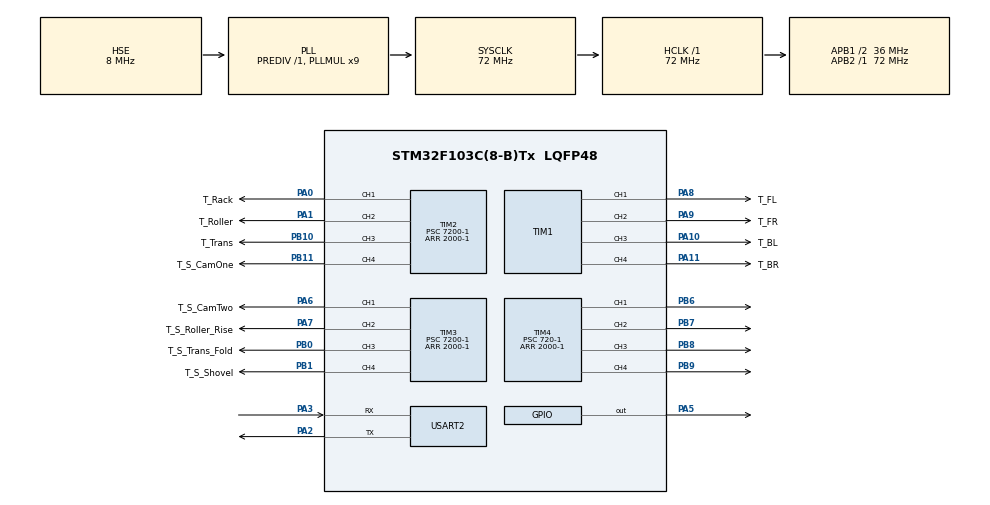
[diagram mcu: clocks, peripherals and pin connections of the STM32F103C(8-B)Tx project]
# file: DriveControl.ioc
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Mcu.Family=STM32F1
Mcu.Name=STM32F103C(8-B)Tx
Mcu.Package=LQFP48
NVIC.PriorityGroup=NVIC_PRIORITYGROUP_2
NVIC.USART2_IRQn=true\:0\:0\:false\:false\:true\:true\:true\:true
PA0-WKUP.GPIO_Label=T_Rack
PA0-WKUP.Signal=S_TIM2_CH1_ETR
PA1.GPIO_Label=T_Roller
PA1.Signal=S_TIM2_CH2
PA10.GPIO_Label=T_BL
PA10.Signal=S_TIM1_CH3
PA11.GPIO_Label=T_BR
PA11.Signal=S_TIM1_CH4
PA2.Mode=Asynchronous
PA2.Signal=USART2_TX
PA3.Mode=Asynchronous
PA3.Signal=USART2_RX
PA5.Signal=GPIO_Output
PA6.GPIO_Label=T_S_CamTwo
PA6.Signal=S_TIM3_CH1
PA7.GPIO_Label=T_S_Roller_Rise
PA7.Signal=S_TIM3_CH2
PA8.GPIO_Label=T_FL
PA8.Signal=S_TIM1_CH1
PA9.GPIO_Label=T_FR
PA9.Signal=S_TIM1_CH2
PB0.GPIO_Label=T_S_Trans_Fold
PB0.Signal=S_TIM3_CH3
PB1.GPIO_Label=T_S_Shovel
PB1.Signal=S_TIM3_CH4
PB10.GPIO_Label=T_Trans
PB10.Signal=S_TIM2_CH3
PB11.GPIO_Label=T_S_CamOne
PB11.Signal=S_TIM2_CH4
PB6.Signal=S_TIM4_CH1
PB7.Signal=S_TIM4_CH2
PB8.Signal=S_TIM4_CH3
PB9.Signal=S_TIM4_CH4
PC14-OSC32_IN.Mode=LSE-External-Oscillator
PC14-OSC32_IN.Signal=RCC_OSC32_IN
PC15-OSC32_OUT.Mode=LSE-External-Oscillator
PC15-OSC32_OUT.Signal=RCC_OSC32_OUT
PD0-OSC_IN.Mode=HSE-External-Oscillator
PD0-OSC_IN.Signal=RCC_OSC_IN
PD1-OSC_OUT.Mode=HSE-External-Oscillator
PD1-OSC_OUT.Signal=RCC_OSC_OUT
ProjectManager.HeapSize=0x200
ProjectManager.StackSize=0x400
ProjectManager.TargetToolchain=STM32CubeIDE
RCC.AHBFreq_Value=72000000
RCC.APB1CLKDivider=RCC_HCLK_DIV2
RCC.APB1Freq_Value=36000000
RCC.APB1TimFreq_Value=72000000
RCC.APB2Freq_Value=72000000
RCC.APB2TimFreq_Value=72000000
RCC.HCLKFreq_Value=72000000
RCC.PLLMUL=RCC_PLL_MUL9
RCC.PLLSourceVirtual=RCC_PLLSOURCE_HSE
RCC.SYSCLKFreq_VALUE=72000000
RCC.SYSCLKSource=RCC_SYSCLKSOURCE_PLLCLK
RCC.USBFreq_Value=72000000
SH.S_TIM1_CH1.0=TIM1_CH1,PWM Generation1 CH1
SH.S_TIM1_CH2.0=TIM1_CH2,PWM Generation2 CH2
SH.S_TIM1_CH3.0=TIM1_CH3,PWM Generation3 CH3
SH.S_TIM1_CH4.0=TIM1_CH4,PWM Generation4 CH4
SH.S_TIM2_CH1_ETR.0=TIM2_CH1,PWM Generation1 CH1
SH.S_TIM2_CH2.0=TIM2_CH2,PWM Generation2 CH2
SH.S_TIM2_CH3.0=TIM2_CH3,PWM Generation3 CH3
SH.S_TIM2_CH4.0=TIM2_CH4,PWM Generation4 CH4
SH.S_TIM3_CH1.0=TIM3_CH1,PWM Generation1 CH1
SH.S_TIM3_CH2.0=TIM3_CH2,PWM Generation2 CH2
SH.S_TIM3_CH3.0=TIM3_CH3,PWM Generation3 CH3
SH.S_TIM3_CH4.0=TIM3_CH4,PWM Generation4 CH4
SH.S_TIM4_CH1.0=TIM4_CH1,PWM Generation1 CH1
SH.S_TIM4_CH2.0=TIM4_CH2,PWM Generation2 CH2
SH.S_TIM4_CH3.0=TIM4_CH3,PWM Generation3 CH3
SH.S_TIM4_CH4.0=TIM4_CH4,PWM Generation4 CH4
TIM1.Channel-PWM\ Generation1\ CH1=TIM_CHANNEL_1
TIM1.Channel-PWM\ Generation2\ CH2=TIM_CHANNEL_2
TIM1.Channel-PWM\ Generation3\ CH3=TIM_CHANNEL_3
TIM1.Channel-PWM\ Generation4\ CH4=TIM_CHANNEL_4
TIM2.Channel-PWM\ Generation1\ CH1=TIM_CHANNEL_1
TIM2.Channel-PWM\ Generation2\ CH2=TIM_CHANNEL_2
TIM2.Channel-PWM\ Generation3\ CH3=TIM_CHANNEL_3
TIM2.Channel-PWM\ Generation4\ CH4=TIM_CHANNEL_4
TIM2.Period=2000-1
TIM2.Prescaler=7200-1
TIM3.Channel-PWM\ Generation1\ CH1=TIM_CHANNEL_1
TIM3.Channel-PWM\ Generation2\ CH2=TIM_CHANNEL_2
TIM3.Channel-PWM\ Generation3\ CH3=TIM_CHANNEL_3
TIM3.Channel-PWM\ Generation4\ CH4=TIM_CHANNEL_4
TIM3.Period=2000-1
TIM3.Prescaler=7200-1
TIM3.Pulse-PWM\ Generation3\ CH3=0
TIM4.Channel-PWM\ Generation1\ CH1=TIM_CHANNEL_1
TIM4.Channel-PWM\ Generation2\ CH2=TIM_CHANNEL_2
TIM4.Channel-PWM\ Generation3\ CH3=TIM_CHANNEL_3
TIM4.Channel-PWM\ Generation4\ CH4=TIM_CHANNEL_4
TIM4.Period=2000-1
TIM4.Prescaler=720-1
USART2.VirtualMode=VM_ASYNC
VP_SYS_VS_ND.Mode=No_Debug
board=custom

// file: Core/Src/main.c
/* USER CODE BEGIN Header */
/**
  ******************************************************************************
  * @file           : main.c
  * @brief          : Main program body
  ******************************************************************************
  * @attention
  *
  * Copyright (c) 2024 STMicroelectronics.
  * All rights reserved.
  *
  * This software is licensed under terms that can be found in the LICENSE file
  * in the root directory of this software component.
  * If no LICENSE file comes with this software, it is provided AS-IS.
  *
  ******************************************************************************
  */
/* USER CODE END Header */
#include "main.h"
#include "tim.h"
#include "usart.h"
#include "gpio.h"

/* USER CODE BEGIN Includes */
#include "motorcontrol.h"
#include "action_usart.h"
#include "stdlib.h"
/* USER CODE END Includes */

/* USER CODE BEGIN PTD */
//UART.c
unsigned char UART2_Rx_Buf[5] = {0}; //USART1存储接收数据
unsigned int UART2_Rx_cnt = 0;                   //USART1接受数据计数
uint8_t UART2_temp[1] = {0};       //USART2接收数据缓存
uint8_t Rx_buf[15] = {0};
uint8_t Detect_Rx_buf[52] = {0};
unsigned char i = 0;
unsigned char Execute_Order = 0;
uint16_t Motor_Side = 0;
uint16_t Motor_Speed = 0;

/* USER CODE END PTD */

/* USER CODE BEGIN PV */
unsigned char USART_State = 1;
unsigned char Rx_cnt = 0;
unsigned char Menu_Sign = 0;
// Fix it to 0
unsigned char Detect_State = 0;
unsigned char Receive_State = 0;
unsigned char Detect_Flag = 0;
unsigned char p = 0;

void HAL_UART_RxCpltCallback(UART_HandleTypeDef *huart) //USART中断函数
{
    if (huart->Instance == USART2)
    {
        if (Detect_State == 0)
        {
            if (USART_State == 2)
            {
                if (Rx_cnt <= 8)
                {
                    Rx_buf[Rx_cnt] = UART2_temp[0];
                    Rx_cnt++;
                    if (Rx_cnt > 8)
                    {
                        USART_State = 1;
                        Rx_cnt = 0;
                    }
                }
            }
        } else if (Detect_State == 1)
        {
            if (UART2_temp[0] == '@' && Detect_Flag != 1)
            {
                Receive_State = 1;
                p = 0;
            } else if (Receive_State == 1)
            {
                if (UART2_temp[0] != '\n' && UART2_temp[0] != '\t')
                {
                    Detect_Rx_buf[p] = UART2_temp[0];
                    p++;
                } else
                {
                    if (UART2_temp[0] == '\n')
                    {
                        Detect_Rx_buf[p] = '\0';
                        Receive_State = 0;
                        p = 0;
                        Detect_Flag = 1;
                    } else if (UART2_temp[0] == '\t')
                    {
                        Detect_State = 0;
                    }
                }
            }
        }
    }
    HAL_UART_Receive_IT(&huart2, (uint8_t *) UART2_temp, 1);
}

/* USER CODE END PV */

void SystemClock_Config(void);

int main(void)
{

  /* MCU Configuration--------------------------------------------------------*/

  /* Reset of all peripherals, Initializes the Flash interface and the Systick. */
  HAL_Init();

  /* Configure the system clock */
  SystemClock_Config();

  /* Initialize all configured peripherals */
  MX_GPIO_Init();
  MX_TIM1_Init();
  MX_TIM2_Init();
  MX_TIM3_Init();
  MX_TIM4_Init();
  MX_USART2_UART_Init();
  /* USER CODE BEGIN 2 */
    uint32_t delay_2s = 3127 * 2000;
    while (delay_2s--);
    HAL_UART_Init(&huart2);
    Motor_Init();
    __HAL_TIM_SET_COMPARE(&htim2, TIM_CHANNEL_1, RACK_MOTOR_COMPARE);
    __HAL_TIM_SET_COMPARE(&htim2, TIM_CHANNEL_2, ROLLER_MOTOR_COMPARE_SLOW);
    __HAL_TIM_SET_COMPARE(&htim2, TIM_CHANNEL_3, TRANS_MOTOR_COMPARE);
    __HAL_TIM_SET_COMPARE(&htim2, TIM_CHANNEL_4, 145);
    __HAL_TIM_SET_COMPARE(&htim3, TIM_CHANNEL_1, 100);
    __HAL_TIM_SET_COMPARE(&htim3, TIM_CHANNEL_2, ROLLER_INITIAL_COMPARE);
    __HAL_TIM_SET_COMPARE(&htim4, TIM_CHANNEL_1, SHOVEL_INITIAL_COMPARE);
    __HAL_TIM_SET_COMPARE(&htim3, TIM_CHANNEL_3, Trans_UNFOLD_COMPARE);
    __HAL_TIM_SET_COMPARE(&htim4, TIM_CHANNEL_2, SUSTAINER_LEFT_UP_COMPARE);
    __HAL_TIM_SET_COMPARE(&htim3, TIM_CHANNEL_4, SUSTAINER_RIGHT_UP_COMPARE);
    HAL_Delay(20);
    unsigned char Aquire_Sign = 0xB2;
    uint16_t duty1 = 100, duty2 = 145;
    uint32_t px = 0, py = 0;
    float dx = 0, dy = 0;
    HAL_UART_Receive_IT(&huart2, (uint8_t *) UART2_temp, 1);
  /* USER CODE END 2 */

  /* Infinite loop */
  /* USER CODE BEGIN WHILE */
    while (1)
    {
        if (Detect_State == 0)
        {
            USART_State = 2;
            HAL_UART_Transmit(&huart2, (uint8_t *) &Aquire_Sign, 1, 0xff);
            while (USART_State == 2);
            Menu_Sign = Rx_buf[8];
            Menu_Action(Menu_Sign);
            PID_Motor_Action(Rx_buf);
            HAL_Delay(3);
        } else if (Detect_State == 1)
        {
            if (Detect_Flag == 1)
            {

                // get the angle from the string
                char *ptr;
                dx = strtof(((const char *) Detect_Rx_buf + 1), &ptr);
                dy = strtof((ptr + 1), NULL);
                // calculate the duty by the angle
                int32_t duty_dx, duty_dy;
                duty_dx = (int) (dx / 0.9f);
                duty_dy = (int) (dy / 0.9f);
                duty1 += (int) duty_dx;
                duty2 += (int) duty_dy;
                __HAL_TIM_SET_COMPARE(&htim2, TIM_CHANNEL_4, duty2);
                __HAL_TIM_SET_COMPARE(&htim3, TIM_CHANNEL_1, duty1);
                Detect_Flag = 0;
            }
        }
    /* USER CODE END WHILE */

    }
}

void SystemClock_Config(void)
{
  RCC_OscInitTypeDef RCC_OscInitStruct = {0};
  RCC_ClkInitTypeDef RCC_ClkInitStruct = {0};

  /** Initializes the RCC Oscillators according to the specified parameters
  * in the RCC_OscInitTypeDef structure.
  */
  RCC_OscInitStruct.OscillatorType = RCC_OSCILLATORTYPE_HSE;
  RCC_OscInitStruct.HSEState = RCC_HSE_ON;
  RCC_OscInitStruct.HSEPredivValue = RCC_HSE_PREDIV_DIV1;
  RCC_OscInitStruct.HSIState = RCC_HSI_ON;
  RCC_OscInitStruct.PLL.PLLState = RCC_PLL_ON;
  RCC_OscInitStruct.PLL.PLLSource = RCC_PLLSOURCE_HSE;
  RCC_OscInitStruct.PLL.PLLMUL = RCC_PLL_MUL9;
  if (HAL_RCC_OscConfig(&RCC_OscInitStruct) != HAL_OK)
  {
    Error_Handler();
  }

  /** Initializes the CPU, AHB and APB buses clocks
  */
  RCC_ClkInitStruct.ClockType = RCC_CLOCKTYPE_HCLK|RCC_CLOCKTYPE_SYSCLK
                              |RCC_CLOCKTYPE_PCLK1|RCC_CLOCKTYPE_PCLK2;
  RCC_ClkInitStruct.SYSCLKSource = RCC_SYSCLKSOURCE_PLLCLK;
  RCC_ClkInitStruct.AHBCLKDivider = RCC_SYSCLK_DIV1;
  RCC_ClkInitStruct.APB1CLKDivider = RCC_HCLK_DIV2;
  RCC_ClkInitStruct.APB2CLKDivider = RCC_HCLK_DIV1;

  if (HAL_RCC_ClockConfig(&RCC_ClkInitStruct, FLASH_LATENCY_2) != HAL_OK)
  {
    Error_Handler();
  }
}

void Error_Handler(void)
{
    __disable_irq();
    while (1)
    {
    }
}
